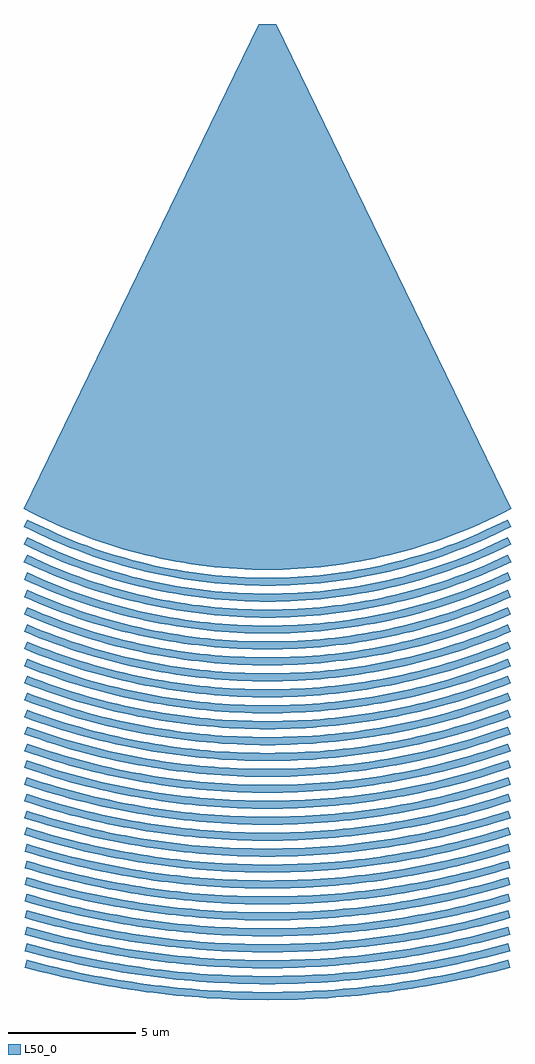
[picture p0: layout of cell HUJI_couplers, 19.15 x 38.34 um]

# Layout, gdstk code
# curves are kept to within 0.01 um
import gdstk
lib = gdstk.Library(unit=1e-6, precision=1e-09)
def P(c, l, *ps):  # polygons
    for p in ps: c.add(gdstk.Polygon(p, *l))
L50_0 = (50, 0)

huji_couplers = lib.new_cell('HUJI_couplers')
P(huji_couplers, L50_0, [(9.573,-19.043),(8.975,-19.35),(8.377,-19.632),(7.779,-19.892),(7.18,-20.129),(5.984,-20.539),(4.787,-20.868),(3.59,-21.121),(2.393,-21.299),(1.197,-21.405),(0,-21.44),(-1.197,-21.405),(-2.393,-21.299),(-3.59,-21.121),(-4.787,-20.868),(-5.984,-20.539),(-7.18,-20.129),(-7.779,-19.892),(-8.377,-19.632),(-8.975,-19.35),(-9.573,-19.043),(-0.35,0),(0.35,0)],
  [(9.571,-19.747),(8.674,-20.182),(7.478,-20.683),(6.88,-20.902),(6.281,-21.1),(5.085,-21.439),(3.888,-21.702),(3.29,-21.806),(2.393,-21.929),(1.196,-22.032),(0,-22.066),(-1.196,-22.032),(-2.393,-21.929),(-3.29,-21.806),(-3.888,-21.702),(-5.085,-21.439),(-6.281,-21.1),(-6.88,-20.902),(-7.478,-20.683),(-8.674,-20.182),(-9.571,-19.747),(-9.429,-19.468),(-8.839,-19.76),(-8.25,-20.029),(-7.366,-20.391),(-6.777,-20.606),(-5.598,-20.978),(-4.714,-21.207),(-4.125,-21.336),(-2.946,-21.542),(-2.062,-21.65),(-0.884,-21.735),(0,-21.753),(0.884,-21.735),(2.062,-21.65),(2.946,-21.542),(4.125,-21.336),(4.714,-21.207),(5.598,-20.978),(6.777,-20.606),(7.366,-20.391),(8.25,-20.029),(8.839,-19.76),(9.429,-19.468)],
  [(9.569,-20.445),(8.972,-20.731),(8.373,-20.995),(7.476,-21.35),(6.28,-21.755),(5.084,-22.083),(4.187,-22.281),(3.589,-22.391),(2.392,-22.559),(1.196,-22.659),(0,-22.692),(-1.196,-22.659),(-2.392,-22.559),(-3.589,-22.391),(-4.187,-22.281),(-5.084,-22.083),(-6.28,-21.755),(-7.476,-21.35),(-8.373,-20.995),(-8.972,-20.731),(-9.569,-20.445),(-9.431,-20.164),(-8.252,-20.706),(-7.662,-20.945),(-6.778,-21.266),(-5.894,-21.543),(-5.305,-21.705),(-4.126,-21.974),(-3.242,-22.13),(-2.063,-22.279),(-1.179,-22.347),(0,-22.379),(1.179,-22.347),(2.063,-22.279),(3.242,-22.13),(4.126,-21.974),(5.305,-21.705),(5.894,-21.543),(6.778,-21.266),(7.662,-20.945),(8.252,-20.706),(9.431,-20.164)],
  [(9.567,-21.139),(8.671,-21.545),(7.475,-22.015),(6.279,-22.407),(5.083,-22.726),(3.887,-22.974),(3.289,-23.072),(2.392,-23.189),(1.196,-23.286),(0,-23.318),(-1.196,-23.286),(-2.392,-23.189),(-2.99,-23.115),(-3.887,-22.974),(-5.083,-22.726),(-6.279,-22.407),(-7.475,-22.015),(-8.671,-21.545),(-9.567,-21.139),(-9.433,-20.856),(-8.253,-21.381),(-7.369,-21.721),(-6.779,-21.923),(-5.6,-22.273),(-4.716,-22.489),(-4.127,-22.611),(-3.242,-22.763),(-2.063,-22.908),(-0.884,-22.988),(0,-23.005),(0.884,-22.988),(2.063,-22.908),(3.242,-22.763),(4.127,-22.611),(4.716,-22.489),(5.6,-22.273),(6.779,-21.923),(7.369,-21.721),(8.253,-21.381),(9.433,-20.856)],
  [(9.565,-21.829),(8.669,-22.222),(7.473,-22.678),(6.278,-23.058),(5.082,-23.368),(3.886,-23.609),(2.989,-23.747),(2.392,-23.818),(1.196,-23.913),(0,-23.944),(-1.196,-23.913),(-2.392,-23.818),(-2.989,-23.747),(-3.886,-23.609),(-5.082,-23.368),(-6.278,-23.058),(-7.473,-22.678),(-8.669,-22.222),(-9.565,-21.829),(-9.435,-21.545),(-8.255,-22.053),(-7.665,-22.277),(-6.781,-22.579),(-6.191,-22.758),(-5.307,-22.993),(-4.127,-23.247),(-3.243,-23.395),(-2.064,-23.536),(-0.884,-23.614),(0,-23.631),(0.884,-23.614),(2.064,-23.536),(3.243,-23.395),(4.127,-23.247),(5.307,-22.993),(6.191,-22.758),(6.781,-22.579),(7.665,-22.277),(8.255,-22.053),(9.435,-21.545)],
  [(9.564,-22.515),(8.369,-23.014),(7.173,-23.437),(5.978,-23.79),(4.782,-24.074),(3.587,-24.292),(2.391,-24.447),(1.196,-24.54),(0,-24.57),(-1.196,-24.54),(-2.391,-24.447),(-3.587,-24.292),(-4.782,-24.074),(-5.978,-23.79),(-7.173,-23.437),(-8.369,-23.014),(-9.564,-22.515),(-9.436,-22.229),(-8.256,-22.722),(-7.372,-23.042),(-6.782,-23.233),(-6.192,-23.407),(-5.308,-23.636),(-4.128,-23.883),(-3.244,-24.027),(-2.064,-24.165),(-1.179,-24.227),(0,-24.257),(1.179,-24.227),(2.064,-24.165),(3.244,-24.027),(4.128,-23.883),(5.308,-23.636),(6.192,-23.407),(6.782,-23.233),(7.372,-23.042),(8.256,-22.722),(9.436,-22.229)],
  [(9.562,-23.197),(8.367,-23.682),(7.172,-24.093),(5.977,-24.436),(4.781,-24.713),(3.586,-24.926),(2.391,-25.076),(1.195,-25.167),(0,-25.196),(-1.195,-25.167),(-2.391,-25.076),(-3.586,-24.926),(-4.781,-24.713),(-5.977,-24.436),(-7.172,-24.093),(-8.367,-23.682),(-9.562,-23.197),(-9.438,-22.91),(-8.258,-23.389),(-7.373,-23.7),(-6.783,-23.886),(-5.603,-24.207),(-5.014,-24.344),(-4.129,-24.519),(-3.244,-24.659),(-2.064,-24.793),(-0.885,-24.867),(0,-24.883),(0.885,-24.867),(2.064,-24.793),(3.244,-24.659),(4.129,-24.519),(5.014,-24.344),(5.603,-24.207),(6.783,-23.886),(7.373,-23.7),(8.258,-23.389),(9.438,-22.91)],
  [(9.561,-23.877),(8.366,-24.347),(7.171,-24.748),(5.976,-25.081),(4.781,-25.351),(3.585,-25.558),(2.39,-25.705),(1.195,-25.793),(0,-25.823),(-1.195,-25.793),(-2.39,-25.705),(-3.585,-25.558),(-4.781,-25.351),(-5.976,-25.081),(-7.171,-24.748),(-8.366,-24.347),(-9.561,-23.877),(-9.439,-23.588),(-8.259,-24.053),(-7.374,-24.356),(-6.784,-24.537),(-5.899,-24.778),(-5.309,-24.919),(-4.129,-25.154),(-2.95,-25.329),(-2.065,-25.421),(-1.18,-25.481),(0,-25.51),(1.18,-25.481),(2.065,-25.421),(2.95,-25.329),(4.129,-25.154),(5.309,-24.919),(5.899,-24.778),(6.784,-24.537),(7.374,-24.356),(8.259,-24.053),(9.439,-23.588)],
  [(9.559,-24.553),(8.365,-25.011),(7.17,-25.401),(5.975,-25.726),(4.78,-25.988),(3.585,-26.191),(2.39,-26.334),(1.195,-26.42),(0,-26.449),(-1.195,-26.42),(-2.39,-26.334),(-3.585,-26.191),(-4.78,-25.988),(-5.975,-25.726),(-7.17,-25.401),(-8.365,-25.011),(-9.559,-24.553),(-9.441,-24.263),(-8.26,-24.716),(-7.375,-25.011),(-6.785,-25.187),(-5.9,-25.422),(-5.31,-25.559),(-4.13,-25.788),(-3.245,-25.922),(-2.065,-26.049),(-0.885,-26.12),(0,-26.136),(0.885,-26.12),(2.065,-26.049),(3.245,-25.922),(4.13,-25.788),(5.31,-25.559),(5.9,-25.422),(6.785,-25.187),(7.375,-25.011),(8.26,-24.716),(9.441,-24.263)],
  [(9.558,-25.227),(8.364,-25.672),(7.169,-26.052),(5.974,-26.369),(4.779,-26.625),(3.584,-26.823),(2.39,-26.963),(1.195,-27.047),(0,-27.074),(-1.195,-27.047),(-2.39,-26.963),(-3.584,-26.823),(-4.779,-26.625),(-5.974,-26.369),(-7.169,-26.052),(-8.364,-25.672),(-9.558,-25.227),(-9.442,-24.936),(-8.557,-25.273),(-7.966,-25.476),(-6.786,-25.836),(-5.606,-26.133),(-4.721,-26.318),(-4.131,-26.422),(-3.246,-26.553),(-2.065,-26.677),(-1.18,-26.734),(0,-26.762),(1.18,-26.734),(2.065,-26.677),(3.246,-26.553),(4.131,-26.422),(4.721,-26.318),(5.606,-26.133),(6.786,-25.836),(7.966,-25.476),(8.557,-25.273),(9.442,-24.936)],
  [(9.557,-25.898),(8.362,-26.332),(7.168,-26.702),(5.973,-27.011),(4.779,-27.262),(3.584,-27.455),(2.389,-27.591),(1.195,-27.673),(0,-27.7),(-1.195,-27.673),(-2.389,-27.591),(-3.584,-27.455),(-4.779,-27.262),(-5.973,-27.011),(-7.168,-26.702),(-8.362,-26.332),(-9.557,-25.898),(-9.443,-25.606),(-8.853,-25.829),(-7.968,-26.133),(-6.787,-26.483),(-5.902,-26.707),(-5.312,-26.837),(-4.426,-27.007),(-3.836,-27.102),(-2.951,-27.219),(-1.771,-27.327),(-0.885,-27.372),(0,-27.387),(0.885,-27.372),(1.771,-27.327),(2.951,-27.219),(3.836,-27.102),(4.426,-27.007),(5.312,-26.837),(5.902,-26.707),(6.787,-26.483),(7.968,-26.133),(8.853,-25.829),(9.443,-25.606)],
  [(9.555,-26.567),(8.361,-26.99),(7.167,-27.352),(5.972,-27.653),(4.778,-27.898),(3.583,-28.086),(2.389,-28.22),(1.194,-28.3),(0,-28.326),(-1.194,-28.3),(-2.389,-28.22),(-3.583,-28.086),(-4.778,-27.898),(-5.972,-27.653),(-7.167,-27.352),(-8.361,-26.99),(-9.555,-26.567),(-9.445,-26.274),(-8.264,-26.693),(-7.083,-27.05),(-5.903,-27.348),(-4.722,-27.59),(-3.542,-27.776),(-2.361,-27.908),(-1.181,-27.987),(0,-28.013),(1.181,-27.987),(2.361,-27.908),(3.542,-27.776),(4.722,-27.59),(5.903,-27.348),(7.083,-27.05),(8.264,-26.693),(9.445,-26.274)],
  [(9.554,-27.234),(8.36,-27.647),(7.166,-28),(5.972,-28.294),(4.777,-28.533),(3.583,-28.717),(2.389,-28.848),(1.194,-28.926),(0,-28.952),(-1.194,-28.926),(-2.389,-28.848),(-3.583,-28.717),(-4.777,-28.533),(-5.972,-28.294),(-7.166,-28),(-8.36,-27.647),(-9.554,-27.234),(-9.446,-26.941),(-8.265,-27.349),(-7.084,-27.698),(-5.903,-27.989),(-4.723,-28.225),(-3.542,-28.407),(-2.361,-28.536),(-1.181,-28.614),(0,-28.639),(1.181,-28.614),(2.361,-28.536),(3.542,-28.407),(4.723,-28.225),(5.903,-27.989),(7.084,-27.698),(8.265,-27.349),(9.446,-26.941)],
  [(9.553,-27.899),(8.359,-28.302),(7.165,-28.647),(5.971,-28.935),(4.777,-29.168),(3.583,-29.348),(2.388,-29.477),(1.194,-29.553),(0,-29.579),(-1.194,-29.553),(-2.388,-29.477),(-3.583,-29.348),(-4.777,-29.168),(-5.971,-28.935),(-7.165,-28.647),(-8.359,-28.302),(-9.553,-27.899),(-9.447,-27.605),(-8.266,-28.004),(-7.085,-28.344),(-5.904,-28.629),(-4.723,-28.86),(-3.542,-29.038),(-2.362,-29.165),(-1.181,-29.24),(0,-29.266),(1.181,-29.24),(2.362,-29.165),(3.542,-29.038),(4.723,-28.86),(5.904,-28.629),(7.085,-28.344),(8.266,-28.004),(9.447,-27.605)],
  [(9.552,-28.563),(8.358,-28.956),(7.164,-29.293),(5.97,-29.575),(4.776,-29.803),(3.582,-29.979),(2.388,-30.105),(1.194,-30.18),(0,-30.204),(-1.194,-30.18),(-2.388,-30.105),(-3.582,-29.979),(-4.776,-29.803),(-5.97,-29.575),(-7.164,-29.293),(-8.358,-28.956),(-9.552,-28.563),(-9.448,-28.267),(-8.267,-28.657),(-7.086,-28.99),(-5.905,-29.268),(-4.724,-29.494),(-3.543,-29.669),(-2.362,-29.793),(-1.181,-29.867),(0,-29.891),(1.181,-29.867),(2.362,-29.793),(3.543,-29.669),(4.724,-29.494),(5.905,-29.268),(7.086,-28.99),(8.267,-28.657),(9.448,-28.267)],
  [(9.551,-29.224),(8.357,-29.609),(7.163,-29.938),(5.969,-30.214),(4.776,-30.437),(3.582,-30.61),(2.388,-30.733),(1.194,-30.806),(0,-30.83),(-1.194,-30.806),(-2.388,-30.733),(-3.582,-30.61),(-4.776,-30.437),(-5.969,-30.214),(-7.163,-29.938),(-8.357,-29.609),(-9.551,-29.224),(-9.449,-28.928),(-8.268,-29.309),(-7.087,-29.635),(-5.906,-29.907),(-4.724,-30.129),(-3.543,-30.299),(-2.362,-30.421),(-1.181,-30.493),(0,-30.517),(1.181,-30.493),(2.362,-30.421),(3.543,-30.299),(4.724,-30.129),(5.906,-29.907),(7.087,-29.635),(8.268,-29.309),(9.449,-28.928)],
  [(9.55,-29.884),(8.356,-30.261),(7.163,-30.583),(5.969,-30.852),(4.775,-31.071),(3.581,-31.24),(2.388,-31.361),(1.194,-31.433),(0,-31.456),(-1.194,-31.433),(-2.388,-31.361),(-3.581,-31.24),(-4.775,-31.071),(-5.969,-30.852),(-7.163,-30.583),(-8.356,-30.261),(-9.55,-29.884),(-9.45,-29.588),(-8.269,-29.96),(-7.087,-30.279),(-5.906,-30.546),(-4.725,-30.762),(-3.544,-30.93),(-2.362,-31.049),(-1.181,-31.12),(0,-31.143),(1.181,-31.12),(2.362,-31.049),(3.544,-30.93),(4.725,-30.762),(5.906,-30.546),(7.087,-30.279),(8.269,-29.96),(9.45,-29.588)],
  [(9.549,-30.543),(8.356,-30.911),(7.162,-31.226),(5.968,-31.491),(4.775,-31.705),(3.581,-31.871),(2.387,-31.989),(1.194,-32.059),(0,-32.082),(-1.194,-32.059),(-2.387,-31.989),(-3.581,-31.871),(-4.775,-31.705),(-5.968,-31.491),(-7.162,-31.226),(-8.356,-30.911),(-9.549,-30.543),(-9.451,-30.246),(-8.269,-30.61),(-7.088,-30.922),(-5.907,-31.184),(-4.725,-31.396),(-3.544,-31.56),(-2.363,-31.677),(-1.181,-31.746),(0,-31.769),(1.181,-31.746),(2.363,-31.677),(3.544,-31.56),(4.725,-31.396),(5.907,-31.184),(7.088,-30.922),(8.269,-30.61),(9.451,-30.246)],
  [(9.548,-31.2),(8.355,-31.561),(7.161,-31.869),(5.968,-32.128),(4.774,-32.338),(3.581,-32.501),(2.387,-32.616),(1.194,-32.685),(0,-32.708),(-1.194,-32.685),(-2.387,-32.616),(-3.581,-32.501),(-4.774,-32.338),(-5.968,-32.128),(-7.161,-31.869),(-8.355,-31.561),(-9.548,-31.2),(-9.452,-30.902),(-8.27,-31.259),(-7.089,-31.565),(-5.907,-31.821),(-4.726,-32.029),(-3.544,-32.19),(-2.363,-32.304),(-1.181,-32.373),(0,-32.395),(1.181,-32.373),(2.363,-32.304),(3.544,-32.19),(4.726,-32.029),(5.907,-31.821),(7.089,-31.565),(8.27,-31.259),(9.452,-30.902)],
  [(9.547,-31.856),(8.354,-32.209),(7.16,-32.512),(5.967,-32.765),(4.774,-32.971),(3.58,-33.131),(2.387,-33.244),(1.193,-33.312),(0,-33.334),(-1.193,-33.312),(-2.387,-33.244),(-3.58,-33.131),(-4.774,-32.971),(-5.967,-32.765),(-7.16,-32.512),(-8.354,-32.209),(-9.547,-31.856),(-9.453,-31.558),(-8.271,-31.907),(-7.09,-32.207),(-5.908,-32.458),(-4.726,-32.662),(-3.545,-32.82),(-2.363,-32.932),(-1.182,-32.999),(0,-33.021),(1.182,-32.999),(2.363,-32.932),(3.545,-32.82),(4.726,-32.662),(5.908,-32.458),(7.09,-32.207),(8.271,-31.907),(9.453,-31.558)],
  [(9.546,-32.511),(8.353,-32.857),(7.16,-33.153),(5.967,-33.402),(4.773,-33.604),(3.58,-33.761),(2.387,-33.872),(1.193,-33.938),(0,-33.96),(-1.193,-33.938),(-2.387,-33.872),(-3.58,-33.761),(-4.773,-33.604),(-5.967,-33.402),(-7.16,-33.153),(-8.353,-32.857),(-9.546,-32.511),(-9.454,-32.212),(-8.272,-32.555),(-7.09,-32.848),(-5.908,-33.095),(-4.727,-33.295),(-3.545,-33.45),(-2.363,-33.56),(-1.182,-33.626),(0,-33.648),(1.182,-33.626),(2.363,-33.56),(3.545,-33.45),(4.727,-33.295),(5.908,-33.095),(7.09,-32.848),(8.272,-32.555),(9.454,-32.212)],
  [(9.545,-33.165),(8.352,-33.504),(7.159,-33.795),(5.966,-34.039),(4.773,-34.237),(3.58,-34.39),(2.386,-34.499),(1.193,-34.565),(0,-34.586),(-1.193,-34.565),(-2.386,-34.499),(-3.58,-34.39),(-4.773,-34.237),(-5.966,-34.039),(-7.159,-33.795),(-8.352,-33.504),(-9.545,-33.165),(-9.455,-32.865),(-8.273,-33.201),(-7.091,-33.489),(-5.909,-33.731),(-4.727,-33.927),(-3.545,-34.079),(-2.364,-34.187),(-1.182,-34.252),(0,-34.273),(1.182,-34.252),(2.364,-34.187),(3.545,-34.079),(4.727,-33.927),(5.909,-33.731),(7.091,-33.489),(8.273,-33.201),(9.455,-32.865)],
  [(9.544,-33.818),(8.352,-34.15),(7.159,-34.435),(5.965,-34.675),(4.772,-34.869),(3.579,-35.02),(2.386,-35.127),(1.193,-35.191),(0,-35.212),(-1.193,-35.191),(-2.386,-35.127),(-3.579,-35.02),(-4.772,-34.869),(-5.965,-34.675),(-7.159,-34.435),(-8.352,-34.15),(-9.544,-33.818),(-9.456,-33.517),(-8.273,-33.847),(-7.091,-34.129),(-5.91,-34.367),(-4.728,-34.559),(-3.546,-34.709),(-2.364,-34.815),(-1.182,-34.878),(0,-34.9),(1.182,-34.878),(2.364,-34.815),(3.546,-34.709),(4.728,-34.559),(5.91,-34.367),(7.091,-34.129),(8.273,-33.847),(9.456,-33.517)],
  [(9.544,-34.469),(8.351,-34.795),(7.158,-35.075),(5.965,-35.31),(4.772,-35.501),(3.579,-35.649),(2.386,-35.755),(1.193,-35.818),(0,-35.838),(-1.193,-35.818),(-2.386,-35.755),(-3.579,-35.649),(-4.772,-35.501),(-5.965,-35.31),(-7.158,-35.075),(-8.351,-34.795),(-9.544,-34.469),(-9.456,-34.169),(-8.274,-34.492),(-7.092,-34.769),(-5.91,-35.002),(-4.728,-35.191),(-3.546,-35.338),(-2.364,-35.442),(-1.182,-35.505),(0,-35.526),(1.182,-35.505),(2.364,-35.442),(3.546,-35.338),(4.728,-35.191),(5.91,-35.002),(7.092,-34.769),(8.274,-34.492),(9.456,-34.169)],
  [(9.543,-35.12),(8.35,-35.44),(7.157,-35.715),(5.965,-35.946),(4.772,-36.133),(3.579,-36.279),(2.386,-36.382),(1.193,-36.444),(0,-36.465),(-1.193,-36.444),(-2.386,-36.382),(-3.579,-36.279),(-4.772,-36.133),(-5.965,-35.946),(-7.157,-35.715),(-8.35,-35.44),(-9.543,-35.12),(-9.457,-34.819),(-8.275,-35.136),(-7.093,-35.408),(-5.91,-35.637),(-4.728,-35.823),(-3.546,-35.967),(-2.364,-36.07),(-1.182,-36.131),(0,-36.152),(1.182,-36.131),(2.364,-36.07),(3.546,-35.967),(4.728,-35.823),(5.91,-35.637),(7.093,-35.408),(8.275,-35.136),(9.457,-34.819)],
  [(9.542,-35.77),(8.35,-36.084),(7.157,-36.354),(5.964,-36.58),(4.771,-36.765),(3.578,-36.908),(2.386,-37.009),(1.193,-37.07),(0,-37.09),(-1.193,-37.07),(-2.386,-37.009),(-3.578,-36.908),(-4.771,-36.765),(-5.964,-36.58),(-7.157,-36.354),(-8.35,-36.084),(-9.542,-35.77),(-9.458,-35.468),(-8.275,-35.78),(-7.093,-36.047),(-5.911,-36.272),(-4.729,-36.455),(-3.547,-36.596),(-2.364,-36.697),(-1.182,-36.757),(0,-36.777),(1.182,-36.757),(2.364,-36.697),(3.547,-36.596),(4.729,-36.455),(5.911,-36.272),(7.093,-36.047),(8.275,-35.78),(9.458,-35.468)],
  [(9.541,-36.419),(8.349,-36.727),(7.156,-36.992),(5.964,-37.215),(4.771,-37.396),(3.578,-37.537),(2.385,-37.637),(1.193,-37.697),(0,-37.716),(-1.193,-37.697),(-2.385,-37.637),(-3.578,-37.537),(-4.771,-37.396),(-5.964,-37.215),(-7.156,-36.992),(-8.349,-36.727),(-9.541,-36.419),(-9.459,-36.117),(-8.276,-36.423),(-7.094,-36.686),(-5.911,-36.907),(-4.729,-37.086),(-3.547,-37.225),(-2.365,-37.324),(-1.182,-37.384),(0,-37.403),(1.182,-37.384),(2.365,-37.324),(3.547,-37.225),(4.729,-37.086),(5.911,-36.907),(7.094,-36.686),(8.276,-36.423),(9.459,-36.117)],
  [(9.541,-37.067),(8.348,-37.37),(7.156,-37.63),(5.963,-37.849),(4.771,-38.028),(3.578,-38.166),(2.385,-38.264),(1.193,-38.323),(0,-38.342),(-1.193,-38.323),(-2.385,-38.264),(-3.578,-38.166),(-4.771,-38.028),(-5.963,-37.849),(-7.156,-37.63),(-8.348,-37.37),(-9.541,-37.067),(-9.459,-36.765),(-8.277,-37.065),(-7.094,-37.324),(-5.912,-37.541),(-4.729,-37.717),(-3.547,-37.854),(-2.365,-37.952),(-1.182,-38.01),(0,-38.029),(1.182,-38.01),(2.365,-37.952),(3.547,-37.854),(4.729,-37.717),(5.912,-37.541),(7.094,-37.324),(8.277,-37.065),(9.459,-36.765)])

lib.write_gds('HUJI_couplers.gds')
